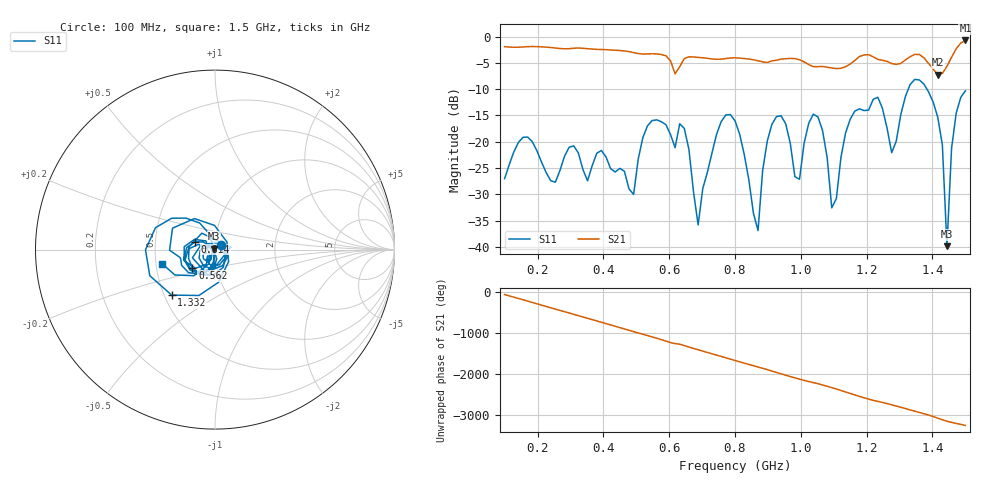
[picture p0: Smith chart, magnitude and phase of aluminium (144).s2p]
! NanoVNA-App
! Date: 2025-09-25 14:56:24
! Start: 100MHz Stop: 1,5GHz Points: 101
! S-Parameter data: F S11 S21 S12 S22
# Hz S RI R 50
!  Frequency  S11_Real  S11_Imag  S21_Real  S21_Imag  S12_Real  S12_Imag  S22_Real  S22_Imag
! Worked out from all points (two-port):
!   101 points, 100 MHz to 1.5 GHz, reference 50 ohm
!   highest |S21| = -0.74 dB at 1.5 GHz (marker M1); lowest = -7.3 dB at 1.416 GHz (marker M2)
!   |S21| within 3 dB of the highest: start of sweep to 591.3 MHz; 1.46 GHz to end of sweep (the widest 2 of 4)
!   lowest |S11| = -39.8 dB at 1.444 GHz (marker M3), VSWR 1.02, Z = 49.2 + j0.594 ohm
!   |S11| at or under -10 dB: start of sweep to 1.326 GHz; 1.383 GHz to end of sweep
!   S12 and S22 are empty: the file has one direction only
!   S11 on the Smith chart (normalised r, x): 100 MHz: 1.07, +0.06; 562 MHz: 0.76, -0.16; 814 MHz: 0.80, +0.07; 1.332 GHz: 0.55, -0.32; 1.5 GHz: 0.54, -0.09
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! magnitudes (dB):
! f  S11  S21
! 100 MHz  -27.0  -1.9
! 338 MHz  -25.3  -2.2
! 492 MHz  -30.0  -3.1
! 562 MHz  -15.8  -3.3
! 576 MHz  -16.2  -3.4
! 646 MHz  -17.5  -4.2
! 688 MHz  -35.8  -4.0
! 800 MHz  -16.0  -4.0
! 814 MHz  -18.5  -4.1
! 870 MHz  -36.9  -4.6
! 912 MHz  -16.7  -4.6
! 996 MHz  -27.1  -4.4
! 1.038 GHz  -14.8  -5.7
! 1.094 GHz  -32.6  -6.0
! 1.164 GHz  -14.2  -4.5
! 1.234 GHz  -11.5  -4.3
! 1.276 GHz  -22.1  -5.1
! 1.332 GHz  -9.1  -3.8
! 1.416 GHz  -15.3  -7.3
! 1.444 GHz  -39.8  -5.7
! 1.458 GHz  -21.2  -3.9
! 1.5 GHz  -10.3  -0.7
